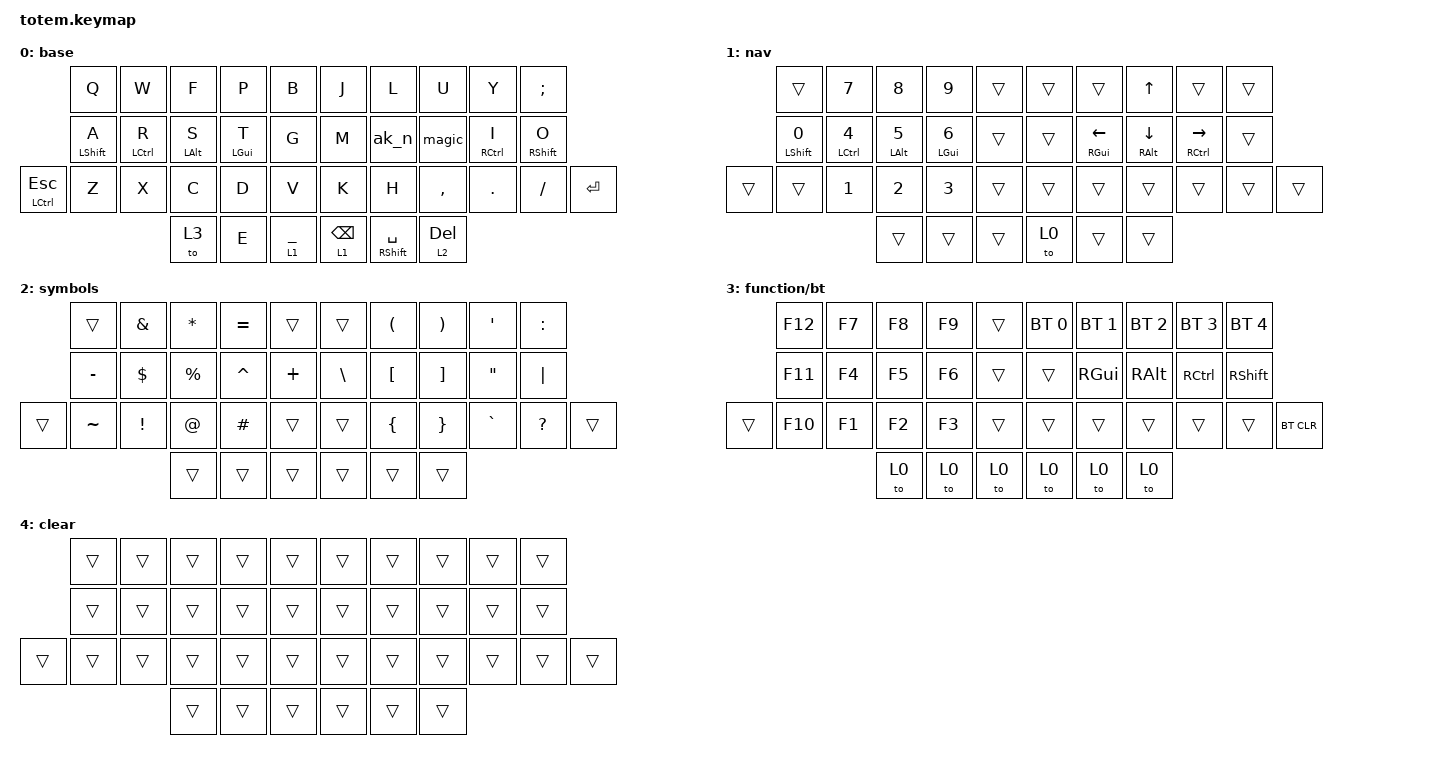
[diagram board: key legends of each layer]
//
//                                                        ▀▀▀▀▀     ▀▀▀▀▀          ▀▀█▀▀
//                                                        ▄▀▀▀▄  ▄  ▄▀▀▀▄  ▄  ▄▀▀▀▄  █  ▄▀▀▀▄
//                                                        █   █  █  █   █  █  █   █  █  █   █
//                                                         ▀▀▀   █   ▀▀▀   █   ▀▀▀   ▀   ▀▀▀
//                                                               █      ▄▄▄█▄▄▄    █   █  
//                                                               ▀      █  █  █     █▄█
//                                                             ▀▀▀▀▀    █  █  █      ▀
//                                                                      ▀  ▀  ▀
//
// ▄▄▄▄▄▄▄▄▄▄▄▄▄▄▄▄▄▄▄▄▄▄▄▄▄▄▄▄▄▄▄▄▄▄▄▄▄▄▄▄▄▄▄▄▄▄▄▄▄▄▄▄▄▄▄▄▄▄▄▄▄▄▄▄▄▄▄▄▄▄▄▄▄▄▄▄▄▄▄▄▄▄▄▄▄▄▄▄▄▄▄▄▄▄▄▄▄▄▄▄▄▄▄▄▄▄▄▄▄▄▄▄▄▄▄▄▄▄▄▄▄▄▄▄▄▄▄▄▄▄▄▄▄▄▄▄▄▄▄▄▄▄▄▄▄▄▄▄▄

#define LEFT_HAND_KEYS 0 1 2 3 4 10 11 12 13 14 20 21 22 23 24 25 32 33 34
#define RIGHT_HAND_KEYS 5 6 7 8 9 15 16 17 18 19 26 27 28 29 30 31 35 36 37
#define LEFT_LEFT_COLUMN 20
#define QUICK_TAP_MS 175
#define COMBO_TIMEOUT 30
#define MAGIC_PRIOR_IDLE 350

#define ___ &trans
#define XXX &none

#include <behaviors.dtsi>
#include <dt-bindings/zmk/bt.h>
#include <dt-bindings/zmk/keys.h>

/ {
    behaviors {
        magic: shift_repeat {
            compatible = "zmk,behavior-adaptive-key";
            #binding-cells = <0>;
            bindings = <&sk LSHFT>;

            repeat {
                trigger-keys = <A D F G I L M N O P Q R S T U W Z>;
                bindings = <&key_repeat>;
                max-prior-idle-ms = <MAGIC_PRIOR_IDLE>;
                strict-modifiers;
            };

            add_semi {
                trigger-keys = <LEFT>;
                bindings = <&kp RIGHT &kp SEMI &kp LEFT &kp LEFT>;
                max-prior-idle-ms = <MAGIC_PRIOR_IDLE>;
            };
        };
        ak_n: adaptive_key_n {
            compatible = "zmk,behavior-adaptive-key";
            #binding-cells = <0>;
            bindings = <&hmr RGUI N>;

            move_inside {
                trigger-keys = <RPAR RBKT RBRC GREATER_THAN APOS DQT>;
                bindings = <&kp LEFT>;
                max-prior-idle-ms = <MAGIC_PRIOR_IDLE>;
            };
        };

        mt: mod_tap {
            compatible = "zmk,behavior-hold-tap";
            #binding-cells = <2>;
            flavor = "balanced";
            tapping-term-ms = <200>;
            quick-tap-ms = <QUICK_TAP_MS>;
            bindings = <&kp>, <&kp>;
            display-name = "Mod-Tap";
        };

        lt: layer_tap {
            compatible = "zmk,behavior-hold-tap";
            #binding-cells = <2>;
            flavor = "balanced";
            tapping-term-ms = <200>;
            quick-tap-ms = <QUICK_TAP_MS>;
            bindings = <&mo>, <&kp>;
            display-name = "Layer-Tap";
        };

        hml: home_row_mod_left {
            compatible = "zmk,behavior-hold-tap";
            #binding-cells = <2>;
            flavor = "balanced";
            require-prior-idle-ms = <90>;
            tapping-term-ms = <280>;
            quick-tap-ms = <QUICK_TAP_MS>;
            bindings = <&kp>, <&kp>;
            //to enable alt/cmd + tab on single hand
            hold-trigger-key-positions = <RIGHT_HAND_KEYS LEFT_LEFT_COLUMN>;
            hold-trigger-on-release;
        };

        hmr: home_row_mod_right {
            compatible = "zmk,behavior-hold-tap";
            #binding-cells = <2>;
            flavor = "balanced";
            require-prior-idle-ms = <90>;
            tapping-term-ms = <280>;
            quick-tap-ms = <QUICK_TAP_MS>;
            bindings = <&kp>, <&kp>;
            hold-trigger-key-positions = <LEFT_HAND_KEYS>;
            hold-trigger-on-release;
        };
    };

    combos {
        compatible = "zmk,combos";
        combo_apos {
            timeout-ms = <COMBO_TIMEOUT>;
            key-positions = <1 2>;
            bindings = <&apos>;
        };
        compatible = "zmk,combos";
        combo_parens {
            timeout-ms = <COMBO_TIMEOUT>;
            key-positions = <2 3>;
            bindings = <&parens>;
        };
        compatible = "zmk,combos";
        combo_backspace {
            timeout-ms = <COMBO_TIMEOUT>;
            key-positions = <8 9>;
            bindings = <&kp BACKSPACE>;
        };

        compatible = "zmk,combos";
        combo_escape {
            timeout-ms = <COMBO_TIMEOUT>;
            key-positions = <10 11>;
            bindings = <&kp ESC>;
        };
        compatible = "zmk,combos";
        combo_quotes {
            timeout-ms = <COMBO_TIMEOUT>;
            key-positions = <11 12>;
            bindings = <&quotes>;
        };
        compatible = "zmk,combos";
        combo_brackets {
            timeout-ms = <COMBO_TIMEOUT>;
            key-positions = <12 13>;
            bindings = <&brackets>;
        };
        compatible = "zmk,combos";
        combo_enter {
            timeout-ms = <COMBO_TIMEOUT>;
            key-positions = <16 17>;
            bindings = <&kp ENTER>;
        };
        compatible = "zmk,combos";
        combo_braces {
            timeout-ms = <COMBO_TIMEOUT>;
            key-positions = <23 24>;
            bindings = <&braces>;
        };
        compatible = "zmk,combos";
        combo_tab {
          timeout-ms = <COMBO_TIMEOUT>;
          key-positions = <0 1>;
          bindings = <&kp TAB>;
        };
        compatible = "zmk,combos";
        combo_tags {
             timeout-ms = <COMBO_TIMEOUT>;
           key-positions = <28 29>;
         bindings = <&tags>;
        };
    };

    macros {
        parens: parens {
            compatible = "zmk,behavior-macro";
            #binding-cells = <0>;
            bindings = <&macro_tap &kp LPAR &kp RPAR>;
        };
        brackets: brackets {
            compatible = "zmk,behavior-macro";
            #binding-cells = <0>;
            bindings = <&macro_tap &kp LBKT &kp RBKT>;
        };
        braces: braces {
            compatible = "zmk,behavior-macro";
            #binding-cells = <0>;
            bindings = <&macro_tap &kp LBRC &kp RBRC>;
        };
        tags: tags {
            compatible = "zmk,behavior-macro";
            #binding-cells = <0>;
            bindings = <&macro_tap &kp LESS_THAN &kp GREATER_THAN>;
        };
        apos: apos {
            compatible = "zmk,behavior-macro";
            #binding-cells = <0>;
            bindings = <&macro_tap &kp APOS &kp APOS>;
        };
        quotes: quotes {
            compatible = "zmk,behavior-macro";
            #binding-cells = <0>;
            bindings = <&macro_tap &kp DOUBLE_QUOTES &kp DOUBLE_QUOTES>;
        };
    };


    keymap {
        compatible = "zmk,keymap";


      layer0  {
            display-name = "base";
            bindings = <
//                ╭──────0─────┬──────1────────┬───────2───────┬───────3────────┬─────4──────╮ ╭─────5──────┬───────6───────┬───────7───────┬───────8───────┬─────9─────╮
                   &kp Q        &kp W           &kp F           &kp P            &kp B          &kp J        &kp L           &kp U           &kp Y           &kp SEMI
//                ├─────10─────┼──────11───────┼───────12──────┼───────13───────┼─────14─────┤ ├────15──────┼──────16───────┼──────17───────┼──────18───────┼────19─────┤
                   &hmr LSHFT A &hml LCTRL R    &hml LALT S     &hml LGUI T      &kp G          &kp M        &ak_n           &magic          &hmr RCTRL I    &hmr RSHFT O       
//╭──────20───────┼─────21─────┼──────22───────┼───────23──────┼───────24───────┼─────25─────┤ ├────26──────┼──────27───────┼──────28───────┼──────29───────┼────30─────┼──────31───────╮
   &mt LCTRL ESC   &kp Z        &kp X           &kp C           &kp D            &kp V          &kp K        &kp H           &kp COMMA       &kp DOT         &kp SLASH   &kp ENTER
//╰───────────────┴────────────┴───────────────┼───────32──────┼───────33───────┼─────34─────┤ ├────35──────┼──────36───────┼──────37───────┼───────────────┴───────────┴───────────────╯
                                                &to 3           &kp E            &lt 1 UNDER    &lt 1 BSPC   &mt RSHFT SPACE &lt 2 DELETE
//                                             ╰───────────────┴────────────────┴────────────╯ ╰────────────┴───────────────┴───────────────╯
                 >;
      };

      layer1 {
            display-name = "nav";
            bindings = <
//                ╭──────0─────┬──────1────────┬───────2───────┬───────3────────┬─────4──────╮ ╭─────5──────┬───────6───────┬───────7───────┬───────8───────┬─────9─────╮
                   ___          &kp N7          &kp N8          &kp N9           ___            ___          ___             &kp UP          ___             ___ 
//                ├─────10─────┼──────11───────┼───────12──────┼───────13───────┼─────14─────┤ ├────15──────┼──────16───────┼──────17───────┼──────18───────┼────19─────┤
                   &mt LSHFT N0 &mt LCTRL N4    &mt LALT N5     &mt LGUI N6      ___            ___          &mt RGUI LEFT   &mt RALT DOWN   &mt RCTRL RIGHT ___
//╭──────20───────┼─────21─────┼──────22───────┼───────23──────┼───────24───────┼─────25─────┤ ├────26──────┼──────27───────┼──────28───────┼──────29───────┼────30─────┼──────31───────╮
   ___             ___          &kp N1          &kp N2          &kp N3           ___            ___          ___             ___             ___             ___         ___
//╰───────────────┴────────────┴───────────────┼───────32──────┼───────33───────┼─────34─────┤ ├────35──────┼──────36───────┼──────37───────┼───────────────┴───────────┴───────────────╯
                                                ___             ___              ___            &to 0        ___             ___         
//                                             ╰───────────────┴────────────────┴────────────╯ ╰────────────┴───────────────┴───────────────╯
              >;
        };

       
       layer2 {
            display-name = "symbols";
            bindings = <
//                ╭──────0─────┬──────1────────┬───────2───────┬───────3────────┬─────4──────╮ ╭─────5──────┬───────6───────┬───────7───────┬───────8───────┬─────9─────╮
                   ___          &kp AMPS        &kp STAR        &kp EQUAL        ___            ___          &kp LPAR        &kp RPAR        &kp APOS        &kp COLON
//                ├─────10─────┼──────11───────┼───────12──────┼───────13───────┼─────14─────┤ ├────15──────┼──────16───────┼──────17───────┼──────18───────┼────19─────┤
                   &kp MINUS    &kp DOLLAR      &kp PERCENT     &kp CARET        &kp PLUS       &kp BSLH     &kp LBKT        &kp RBKT        &kp DQT         &kp PIPE
//╭──────20───────┼─────21─────┼──────22───────┼───────23──────┼───────24───────┼─────25─────┤ ├────26──────┼──────27───────┼──────28───────┼──────29───────┼────30─────┼──────31───────╮
   ___             &kp TILDE    &kp EXCL        &kp AT          &kp HASH         ___            ___          &kp LBRC        &kp RBRC        &kp GRAVE       &kp QMARK   ___
//╰───────────────┴────────────┴───────────────┼───────32──────┼───────33───────┼─────34─────┤ ├────35──────┼──────36───────┼──────37───────┼───────────────┴───────────┴───────────────╯
                                                ___             ___              ___            ___          ___             ___         
//                                             ╰───────────────┴────────────────┴────────────╯ ╰────────────┴───────────────┴───────────────╯
            >;
        };


        layer3 {
            display-name = "function/bt";
            bindings = <
//                ╭──────0─────┬──────1────────┬───────2───────┬───────3────────┬─────4──────╮ ╭─────5──────┬───────6───────┬───────7───────┬───────8───────┬─────9─────╮
                   &kp F12      &kp F7          &kp F8          &kp F9           ___            &bt BT_SEL 0 &bt BT_SEL 1    &bt BT_SEL 2    &bt BT_SEL 3    &bt BT_SEL 4
//                ├─────10─────┼──────11───────┼───────12──────┼───────13───────┼─────14─────┤ ├────15──────┼──────16───────┼──────17───────┼──────18───────┼────19─────┤
                   &kp F11      &kp F4          &kp F5          &kp F6           ___            ___          &kp RGUI        &kp RALT        &kp RCTRL       &kp RSHIFT
//╭──────20───────┼─────21─────┼──────22───────┼───────23──────┼───────24───────┼─────25─────┤ ├────26──────┼──────27───────┼──────28───────┼──────29───────┼────30─────┼──────31───────╮
   ___             &kp F10      &kp F1          &kp F2          &kp F3           ___            ___          ___             ___             ___             ___         &bt BT_CLR
//╰───────────────┴────────────┴───────────────┼───────32──────┼───────33───────┼─────34─────┤ ├────35──────┼──────36───────┼──────37───────┼───────────────┴───────────┴───────────────╯
                                                &to 0           &to 0            &to 0          &to 0        &to 0           &to 0       
//                                             ╰───────────────┴────────────────┴────────────╯ ╰────────────┴───────────────┴───────────────╯
            >;

        };

        extra1 { status = "reserved"; };

        extra2 { status = "reserved"; };

       extra3 {
            display-name = "clear";
            bindings = <
//                ╭──────0─────┬──────1────────┬───────2───────┬───────3────────┬─────4──────╮ ╭─────5──────┬───────6───────┬───────7───────┬───────8───────┬─────9─────╮
                   ___          ___             ___             ___              ___            ___          ___             ___             ___             ___ 
//                ├─────10─────┼──────11───────┼───────12──────┼───────13───────┼─────14─────┤ ├────15──────┼──────16───────┼──────17───────┼──────18───────┼────19─────┤
                   ___          ___             ___             ___              ___            ___          ___             ___             ___             ___
//╭──────20───────┼─────21─────┼──────22───────┼───────23──────┼───────24───────┼─────25─────┤ ├────26──────┼──────27───────┼──────28───────┼──────29───────┼────30─────┼──────31───────╮
   ___             ___          ___             ___             ___              ___            ___          ___             ___             ___             ___         ___
//╰───────────────┴────────────┴───────────────┼───────32──────┼───────33───────┼─────34─────┤ ├────35──────┼──────36───────┼──────37───────┼───────────────┴───────────┴───────────────╯
                                                ___             ___              ___            ___          ___             ___         
//                                             ╰───────────────┴────────────────┴────────────╯ ╰────────────┴───────────────┴───────────────╯
                    >;
            };
    };

    conditional_layers {
        compatible = "zmk,conditional-layers";

        device {
            if-layers = <1 2>;
            then-layer = <3>;
        };
    };
};
